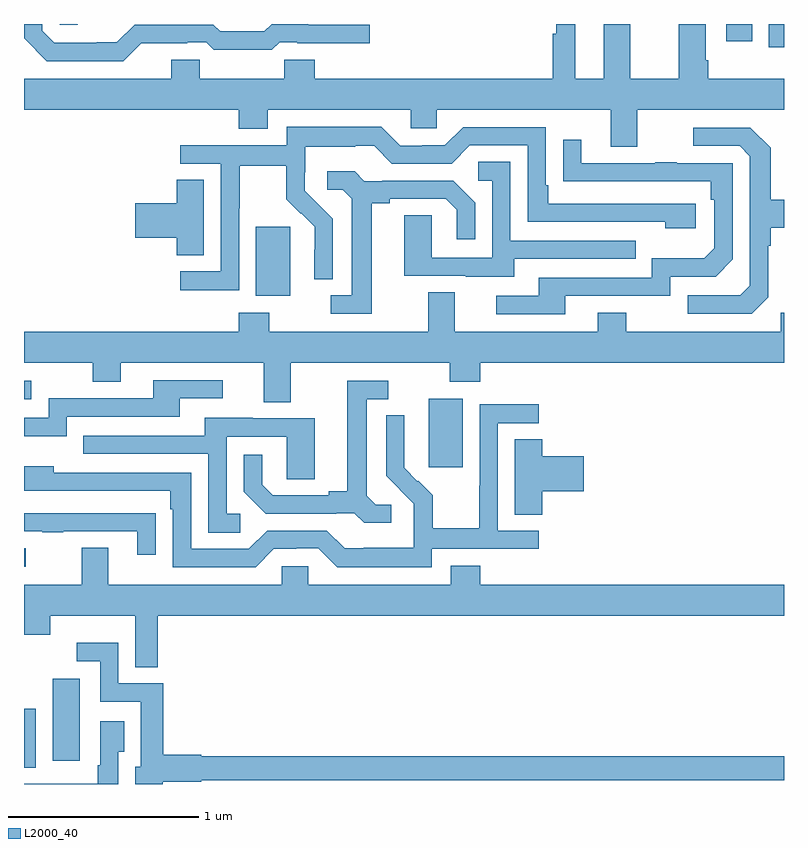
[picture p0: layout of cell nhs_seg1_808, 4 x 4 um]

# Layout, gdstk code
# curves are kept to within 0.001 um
import gdstk
lib = gdstk.Library(unit=1e-6, precision=1e-09)
def R(c, l, rs):  # rectangles x0, y0, x1, y1
    for r in rs: c.add(gdstk.rectangle(r[:2], r[2:], *l))
def P(c, l, *ps):  # polygons
    for p in ps: c.add(gdstk.Polygon(p, *l))
L2000_40 = (2000, 40)

nhs_seg1_808 = lib.new_cell('nhs_seg1_808')
R(nhs_seg1_808, L2000_40, [(155,532.285,155.062,532.596), (155.15,532.322,155.293,532.753), (155,533.343,155.008,533.439), (157.13,533.865,157.309,534.226), (155,534.225,155.038,534.321), (156.221,534.77,156.4,535.131), (158.921,536.076,159,536.199), (158.697,536.109,158.833,536.199), (155.187,536.196,155.283,536.199)])
P(nhs_seg1_808, L2000_40, [(158.227,535.748),(159,535.748),(159,535.912),(158.6,535.912),(158.6,536.008),(158.587,536.008),(158.587,536.199),(158.447,536.199),(158.447,535.912),(158.191,535.912),(158.191,536.199),(158.051,536.199),(158.051,535.912),(157.9,535.912),(157.9,536.199),(157.802,536.199),(157.802,536.148),(157.783,536.148),(157.783,535.912),(156.53,535.912),(156.53,536.01),(156.37,536.01),(156.37,535.912),(155.925,535.912),(155.925,536.01),(155.774,536.01),(155.774,535.912),(155,535.912),(155,535.748),(156.131,535.748),(156.131,535.649),(156.283,535.649),(156.283,535.748),(157.035,535.748),(157.035,535.65),(157.173,535.65),(157.173,535.748),(158.087,535.748),(158.087,535.554),(158.227,535.554)],
  [(155.618,536.099),(155.858,536.099),(155.858,536.103),(155.958,536.103),(155.998,536.064),(156.305,536.064),(156.345,536.103),(156.439,536.103),(156.439,536.099),(156.82,536.099),(156.82,536.196),(156.496,536.196),(156.496,536.199),(156.303,536.199),(156.264,536.16),(156.033,536.16),(155.997,536.196),(155.583,536.196),(155.489,536.102),(155.384,536.102),(155.384,536.1),(155.16,536.1),(155.097,536.163),(155.097,536.199),(155,536.199),(155,536.125),(155.12,536.004),(155.523,536.004)],
  [(156.132,535.228),(156.135,535.228),(156.135,535.452),(156.379,535.452),(156.379,535.277),(156.456,535.2),(156.459,535.203),(156.53,535.133),(156.53,535.01),(156.528,535.01),(156.528,534.856),(156.624,534.856),(156.624,535.174),(156.478,535.322),(156.478,535.419),(156.48,535.419),(156.48,535.553),(156.743,535.553),(156.743,535.557),(156.843,535.557),(156.936,535.464),(157.251,535.464),(157.347,535.56),(157.65,535.56),(157.65,535.158),(158.375,535.158),(158.375,535.124),(158.536,535.124),(158.536,535.254),(157.759,535.254),(157.759,535.351),(157.746,535.351),(157.746,535.656),(157.311,535.656),(157.215,535.56),(157.097,535.56),(157.097,535.557),(156.981,535.557),(156.881,535.657),(156.384,535.657),(156.384,535.56),(155.823,535.56),(155.823,535.464),(156.036,535.464),(156.036,534.897),(155.823,534.897),(155.823,534.799),(156.132,534.799)],
  [(158.916,534.762),(158.916,535.031),(158.929,535.031),(158.929,535.127),(159,535.127),(159,535.275),(158.929,535.275),(158.929,535.547),(158.823,535.653),(158.523,535.653),(158.523,535.557),(158.766,535.557),(158.82,535.503),(158.82,534.822),(158.769,534.771),(158.493,534.771),(158.493,534.675),(158.829,534.675)],
  [(157.849,534.768),(158.4,534.768),(158.4,534.87),(158.64,534.87),(158.73,534.96),(158.73,535.467),(158.435,535.467),(158.435,535.472),(158.323,535.472),(158.323,535.467),(157.933,535.467),(157.933,535.591),(157.837,535.591),(157.837,535.372),(158.614,535.371),(158.614,535.274),(158.634,535.274),(158.634,535.02),(158.581,534.967),(158.304,534.967),(158.304,534.864),(157.709,534.864),(157.709,534.768),(157.485,534.768),(157.485,534.672),(157.849,534.672)],
  [(157.579,534.963),(158.219,534.963),(158.219,535.059),(157.56,535.059),(157.56,535.475),(157.392,535.475),(157.392,535.374),(157.464,535.374),(157.464,534.969),(157.146,534.969),(157.146,535.193),(157.001,535.193),(157.001,534.873),(157.325,534.873),(157.325,534.869),(157.579,534.869)],
  [(156.829,535.256),(156.925,535.256),(156.925,535.278),(157.22,535.278),(157.277,535.221),(157.277,535.065),(157.374,535.065),(157.374,535.258),(157.258,535.374),(156.886,535.374),(156.886,535.371),(156.792,535.371),(156.74,535.423),(156.597,535.423),(156.597,535.326),(156.678,535.326),(156.725,535.279),(156.725,534.771),(156.615,534.771),(156.615,534.675),(156.829,534.675)],
  [(155.947,535.379),(155.804,535.379),(155.804,535.256),(155.586,535.256),(155.586,535.073),(155.804,535.073),(155.804,534.982),(155.947,534.982)],
  [(156.403,534.416),(157.24,534.416),(157.24,534.317),(157.4,534.317),(157.4,534.416),(159,534.416),(159,534.679),(158.982,534.679),(158.982,534.58),(158.169,534.58),(158.169,534.679),(158.021,534.679),(158.021,534.58),(157.267,534.58),(157.267,534.788),(157.127,534.788),(157.127,534.58),(156.291,534.58),(156.291,534.679),(156.131,534.679),(156.131,534.58),(155,534.58),(155,534.416),(155.362,534.416),(155.362,534.317),(155.509,534.317),(155.509,534.416),(156.263,534.416),(156.263,534.208),(156.403,534.208)],
  [(155.226,534.132),(155.821,534.132),(155.821,534.228),(156.046,534.228),(156.046,534.324),(155.681,534.324),(155.681,534.228),(155.13,534.228),(155.13,534.126),(155,534.126),(155,534.029),(155.226,534.029)],
  [(156.934,533.67),(156.852,533.67),(156.805,533.717),(156.805,534.225),(156.916,534.225),(156.916,534.321),(156.701,534.321),(156.701,533.741),(156.605,533.741),(156.605,533.718),(156.31,533.718),(156.253,533.775),(156.253,533.932),(156.156,533.932),(156.156,533.738),(156.272,533.622),(156.644,533.622),(156.644,533.625),(156.738,533.625),(156.79,533.573),(156.934,533.573)],
  [(157.146,533.436),(157.708,533.436),(157.708,533.532),(157.494,533.532),(157.494,534.099),(157.708,534.099),(157.708,534.198),(157.398,534.198),(157.398,533.768),(157.396,533.768),(157.396,533.545),(157.151,533.545),(157.151,533.719),(157.074,533.796),(157.071,533.793),(157.001,533.864),(157.002,534.14),(156.906,534.14),(156.906,533.822),(157.052,533.674),(157.052,533.577),(157.05,533.577),(157.05,533.443),(156.787,533.443),(156.787,533.439),(156.687,533.439),(156.594,533.532),(156.279,533.532),(156.183,533.436),(155.88,533.436),(155.88,533.838),(155.156,533.838),(155.156,533.872),(155,533.872),(155,533.742),(155.771,533.742),(155.771,533.645),(155.784,533.645),(155.784,533.34),(156.219,533.34),(156.315,533.436),(156.434,533.436),(156.434,533.439),(156.549,533.439),(156.649,533.339),(157.146,533.339)],
  [(156.139,533.622),(156.066,533.622),(156.066,534.027),(156.384,534.027),(156.384,533.803),(156.529,533.803),(156.529,534.123),(156.205,534.123),(156.205,534.127),(155.951,534.127),(155.951,534.033),(155.311,534.033),(155.311,533.937),(155.97,533.937),(155.97,533.521),(156.139,533.521)],
  [(157.727,533.741),(157.945,533.741),(157.945,533.924),(157.727,533.924),(157.727,534.014),(157.583,534.014),(157.583,533.617),(157.727,533.617)],
  [(155.693,533.624),(155.591,533.624),(155.591,533.625),(155,533.625),(155,533.529),(155.095,533.529),(155.095,533.524),(155.207,533.524),(155.207,533.529),(155.597,533.529),(155.597,533.406),(155.693,533.406)],
  [(155.704,533.084),(159,533.084),(159,533.248),(157.4,533.248),(157.4,533.347),(157.247,533.347),(157.247,533.248),(156.495,533.248),(156.495,533.346),(156.357,533.346),(156.357,533.248),(155.443,533.248),(155.443,533.443),(155.303,533.443),(155.303,533.248),(155,533.248),(155,532.985),(155.139,532.985),(155.139,533.084),(155.585,533.084),(155.585,532.813),(155.704,532.813)],
  [(155.729,532.21),(155.934,532.21),(155.934,532.218),(159,532.218),(159,532.346),(155.934,532.346),(155.934,532.354),(155.734,532.354),(155.734,532.728),(155.496,532.728),(155.496,532.942),(155.277,532.942),(155.277,532.845),(155.4,532.845),(155.4,532.632),(155.615,532.632),(155.615,532.291),(155.585,532.291),(155.585,532.199),(155.729,532.199)],
  [(155.496,532.369),(155.527,532.369),(155.527,532.528),(155.4,532.528),(155.4,532.297),(155.388,532.297),(155.388,532.2),(155,532.2),(155,532.199),(155.496,532.199)])

lib.write_gds('nhs_seg1_808.gds')
